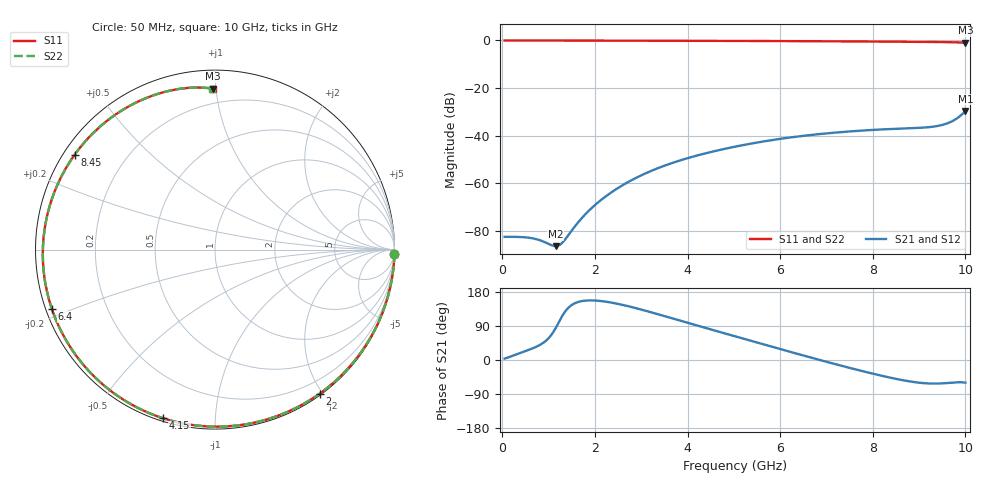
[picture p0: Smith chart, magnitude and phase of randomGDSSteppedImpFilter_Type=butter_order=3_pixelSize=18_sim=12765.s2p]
! freq	dB(S11)	phase(S11)	dB(S12)	phase(S12)
!  dB(S21)	phase(S21)	dB(S22)	phase(S22)
!S-par simulation data
#  GHz  S  DB  R 50
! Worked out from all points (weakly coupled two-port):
!   200 points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, 50 MHz to 10 GHz, reference 50 ohm
!   highest |S21| = -29.62 dB at 10 GHz (marker M1); lowest = -86.5 dB at 1.15 GHz (marker M2)
!   lowest |S11| = -0.9 dB at 10 GHz (marker M3), VSWR 18.40, Z = 5.35 + j49 ohm
!   |S11| at or under -10 dB: nowhere
!   |S22| runs from -0.9 to 0.0 dB; largest |S21 - S12| = 0
!   S11 on the Smith chart (normalised r, x): 50 MHz: 0, -83; 2 GHz: 0.02, -1.97; 4.15 GHz: 0.01, -0.74; 6.4 GHz: 0.02, -0.18; 8.45 GHz: 0.03, +0.31; 10 GHz: 0.11, +0.98
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0.05  -0.00 -1.4  -82.53 3.8  -82.53 3.8  -0.00 -1.4
0.6  -0.02 -16.6  -82.97 28.1  -82.97 28.1  -0.02 -16.6
1.15  -0.04 -31.5  -86.46 83.7  -86.46 83.7  -0.04 -31.5
1.5  -0.05 -40.8  -79.88 145.2  -79.88 145.2  -0.05 -40.8
1.75  -0.06 -47.4  -73.94 156.1  -73.94 156.1  -0.06 -47.4
2  -0.07 -53.9  -69.19 157.0  -69.19 157.0  -0.07 -53.9
2.3  -0.08 -61.7  -64.59 152.7  -64.59 152.7  -0.08 -61.7
2.65  -0.09 -70.6  -60.24 143.9  -60.24 143.9  -0.09 -70.6
3.4  -0.12 -89.1  -53.38 119.4  -53.38 119.4  -0.12 -89.1
4.15  -0.15 -107.1  -48.65 93.0  -48.65 93.0  -0.15 -107.1
5.05  -0.19 -128.2  -44.54 61.7  -44.54 61.7  -0.19 -128.2
5.75  -0.24 -144.6  -42.10 37.6  -42.10 37.6  -0.24 -144.6
6.4  -0.29 -160.1  -40.32 15.3  -40.32 15.3  -0.29 -160.1
6.7  -0.32 -167.4  -39.65 5.2  -39.65 5.2  -0.32 -167.4
7.55  -0.40 171.0  -38.17 -22.4  -38.17 -22.4  -0.40 171.0
7.95  -0.44 160.2  -37.66 -34.5  -37.66 -34.5  -0.44 160.2
8.35  -0.49 148.8  -37.25 -45.9  -37.25 -45.9  -0.49 148.8
8.45  -0.50 145.9  -37.17 -48.5  -37.17 -48.5  -0.50 145.9
9  -0.58 128.8  -36.74 -59.9  -36.74 -59.9  -0.58 128.8
9.5  -0.67 111.5  -35.51 -61.7  -35.51 -61.7  -0.67 111.5
9.75  -0.76 101.8  -33.58 -59.4  -33.58 -59.4  -0.76 101.9
10  -0.95 90.8  -29.62 -59.9  -29.62 -59.9  -0.94 90.9
